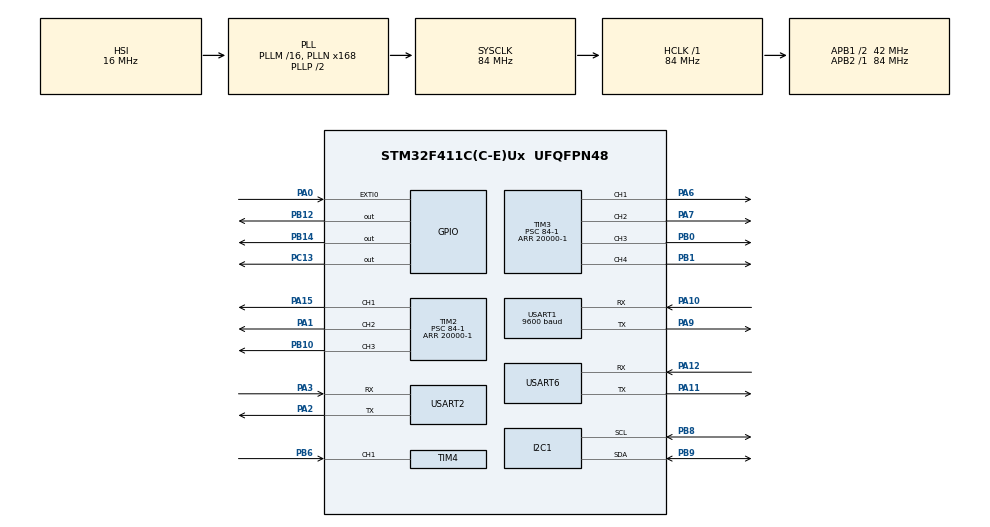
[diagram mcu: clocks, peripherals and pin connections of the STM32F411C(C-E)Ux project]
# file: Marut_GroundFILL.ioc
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FREERTOS.BinarySemaphores01=timer_sem,Dynamic,NULL,Available
FREERTOS.Tasks01=ArmDisarm,8,128,arm_disarm,Default,NULL,Static,ArmDisarmBuffer,ArmDisarmControlBlock;ModeHandler,8,128,mode_handler,Default,NULL,Static,ModeHandlerBuffer,ModeHandlerControlBlock;Debounce_Handle,8,128,debounce_task,Default,NULL,Static,Debounce_HandleBuffer,Debounce_HandleControlBlock;QuadTask,48,2024,quad_mode,Default,NULL,Static,QuadTaskBuffer,QuadTaskControlBlock;TelemetryTask,24,2024,telemetry_task,Default,NULL,Static,TelemetryTaskBuffer,TelemetryTaskControlBlock;FixedWingTask,48,2024,fw_mode,Default,NULL,Static,FixedWingTaskBuffer,FixedWingTaskControlBlock;VtolMode,48,2024,vtol_task,Default,NULL,Static,VtolModeBuffer,VtolModeControlBlock
FREERTOS.configENABLE_FPU=1
FREERTOS.configTOTAL_HEAP_SIZE=60000
FREERTOS.configUSE_NEWLIB_REENTRANT=1
I2C1.I2C_Mode=I2C_Fast
Mcu.Family=STM32F4
Mcu.Name=STM32F411C(C-E)Ux
Mcu.Package=UFQFPN48
NVIC.EXTI0_IRQn=true\:5\:0\:false\:false\:true\:true\:true\:true\:true
NVIC.PriorityGroup=NVIC_PRIORITYGROUP_4
NVIC.TIM1_TRG_COM_TIM11_IRQn=true\:15\:0\:false\:false\:true\:false\:false\:true\:true
NVIC.TIM1_UP_TIM10_IRQn=true\:5\:0\:false\:false\:true\:true\:true\:true\:true
NVIC.TIM4_IRQn=true\:5\:0\:false\:false\:true\:true\:true\:true\:true
NVIC.TimeBase=TIM1_TRG_COM_TIM11_IRQn
NVIC.TimeBaseIP=TIM11
PA0-WKUP.GPIO_ModeDefaultEXTI=GPIO_MODE_IT_FALLING
PA0-WKUP.GPIO_PuPd=GPIO_PULLUP
PA0-WKUP.Signal=GPXTI0
PA1.Signal=S_TIM2_CH2
PA10.Mode=Asynchronous
PA10.Signal=USART1_RX
PA11.Mode=Asynchronous
PA11.Signal=USART6_TX
PA12.Mode=Asynchronous
PA12.Signal=USART6_RX
PA13.Mode=Serial_Wire
PA13.Signal=SYS_JTMS-SWDIO
PA14.Mode=Serial_Wire
PA14.Signal=SYS_JTCK-SWCLK
PA15.Signal=S_TIM2_CH1_ETR
PA2.Mode=Asynchronous
PA2.Signal=USART2_TX
PA3.Mode=Asynchronous
PA3.Signal=USART2_RX
PA6.Signal=S_TIM3_CH1
PA7.Signal=S_TIM3_CH2
PA9.Mode=Asynchronous
PA9.Signal=USART1_TX
PB0.Signal=S_TIM3_CH3
PB1.Signal=S_TIM3_CH4
PB10.Signal=S_TIM2_CH3
PB12.Signal=GPIO_Output
PB14.Signal=GPIO_Output
PB6.Signal=S_TIM4_CH1
PB8.GPIO_Pu=GPIO_PULLUP
PB8.Mode=I2C
PB8.Signal=I2C1_SCL
PB9.GPIO_Pu=GPIO_PULLUP
PB9.Mode=I2C
PB9.Signal=I2C1_SDA
PC13-ANTI_TAMP.Signal=GPIO_Output
ProjectManager.HeapSize=0x200
ProjectManager.StackSize=0x400
ProjectManager.TargetToolchain=STM32CubeIDE
RCC.48MHZClocksFreq_Value=42000000
RCC.AHBFreq_Value=84000000
RCC.APB1CLKDivider=RCC_HCLK_DIV2
RCC.APB1Freq_Value=42000000
RCC.APB1TimFreq_Value=84000000
RCC.APB2Freq_Value=84000000
RCC.APB2TimFreq_Value=84000000
RCC.CortexFreq_Value=84000000
RCC.HCLKFreq_Value=84000000
RCC.HSE_VALUE=25000000
RCC.HSI_VALUE=16000000
RCC.LSE_VALUE=32768
RCC.PLLN=168
RCC.SYSCLKFreq_VALUE=84000000
RCC.SYSCLKSource=RCC_SYSCLKSOURCE_PLLCLK
RCC.VCOOutputFreq_Value=168000000
SH.S_TIM2_CH1_ETR.0=TIM2_CH1,PWM Generation1 CH1
SH.S_TIM2_CH2.0=TIM2_CH2,PWM Generation2 CH2
SH.S_TIM2_CH3.0=TIM2_CH3,PWM Generation3 CH3
SH.S_TIM3_CH1.0=TIM3_CH1,PWM Generation1 CH1
SH.S_TIM3_CH2.0=TIM3_CH2,PWM Generation2 CH2
SH.S_TIM3_CH3.0=TIM3_CH3,PWM Generation3 CH3
SH.S_TIM3_CH4.0=TIM3_CH4,PWM Generation4 CH4
SH.S_TIM4_CH1.0=TIM4_CH1,Input_Capture1_from_TI1
TIM10.Period=2499
TIM10.Prescaler=83
TIM2.Channel-PWM\ Generation1\ CH1=TIM_CHANNEL_1
TIM2.Channel-PWM\ Generation2\ CH2=TIM_CHANNEL_2
TIM2.Channel-PWM\ Generation3\ CH3=TIM_CHANNEL_3
TIM2.Period=20000-1
TIM2.Prescaler=84-1
TIM3.Channel-PWM\ Generation1\ CH1=TIM_CHANNEL_1
TIM3.Channel-PWM\ Generation2\ CH2=TIM_CHANNEL_2
TIM3.Channel-PWM\ Generation3\ CH3=TIM_CHANNEL_3
TIM3.Channel-PWM\ Generation4\ CH4=TIM_CHANNEL_4
TIM3.Period=20000-1
TIM3.Prescaler=84-1
TIM4.Channel-Input_Capture1_from_TI1=TIM_CHANNEL_1
TIM4.Prescaler=84-1
TIM9.Prescaler=84-1
USART1.BaudRate=9600
USART1.VirtualMode=VM_ASYNC
USART2.VirtualMode=VM_ASYNC
USART6.VirtualMode=VM_ASYNC
VP_FREERTOS_VS_CMSIS_V2.Mode=CMSIS_V2
VP_SYS_VS_tim11.Mode=TIM11
VP_TIM10_VS_ClockSourceINT.Mode=Enable_Timer
VP_TIM2_VS_ClockSourceINT.Mode=Internal
VP_TIM3_VS_ClockSourceINT.Mode=Internal
VP_TIM4_VS_ClockSourceINT.Mode=Internal
VP_TIM9_VS_ClockSourceINT.Mode=Internal
board=custom

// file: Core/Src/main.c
/* USER CODE BEGIN Header */
/**
 ******************************************************************************
 * @file           : main.c
 * @brief          : Main program body
 ******************************************************************************
 * @attention
 *
 * Copyright (c) 2026 STMicroelectronics.
 * All rights reserved.
 *
 * This software is licensed under terms that can be found in the LICENSE file
 * in the root directory of this software component.
 * If no LICENSE file comes with this software, it is provided AS-IS.
 *
 ******************************************************************************
 */
/* USER CODE END Header */
#include "main.h"
#include "cmsis_os.h"

/* USER CODE BEGIN Includes */

#include "mpu6050.h"
#include "bmp280.h"
#include <stdio.h>
#include <string.h>
#include <math.h>
#include "mav_messages.h"
#include "mavlink/common/mavlink.h"
#include  <stdint.h>
#include "Support_function.h"

/* USER CODE END Includes */

typedef StaticTask_t osStaticThreadDef_t;
/* USER CODE BEGIN PTD */

#define EL_L_DIR   (+1)
#define EL_R_DIR   (-1)
#define AILERON_LEFT_CH   1
#define AILERON_RIGHT_CH  2

/* USER CODE END PTD */

/* USER CODE BEGIN PD */

#define PUTCHAR_PROTOTYPE int __io_putchar(int ch)

/* USER CODE END PD */

I2C_HandleTypeDef hi2c1;

TIM_HandleTypeDef htim2;
TIM_HandleTypeDef htim3;
TIM_HandleTypeDef htim4;
TIM_HandleTypeDef htim9;
TIM_HandleTypeDef htim10;

UART_HandleTypeDef huart1;
UART_HandleTypeDef huart2;
UART_HandleTypeDef huart6;

/* Definitions for ArmDisarm */
osThreadId_t ArmDisarmHandle;
uint32_t ArmDisarmBuffer[ 128 ];
osStaticThreadDef_t ArmDisarmControlBlock;
const osThreadAttr_t ArmDisarm_attributes = {
  .name = "ArmDisarm",
  .cb_mem = &ArmDisarmControlBlock,
  .cb_size = sizeof(ArmDisarmControlBlock),
  .stack_mem = &ArmDisarmBuffer[0],
  .stack_size = sizeof(ArmDisarmBuffer),
  .priority = (osPriority_t) osPriorityLow,
};
/* Definitions for ModeHandler */
osThreadId_t ModeHandlerHandle;
uint32_t ModeHandlerBuffer[ 128 ];
osStaticThreadDef_t ModeHandlerControlBlock;
const osThreadAttr_t ModeHandler_attributes = {
  .name = "ModeHandler",
  .cb_mem = &ModeHandlerControlBlock,
  .cb_size = sizeof(ModeHandlerControlBlock),
  .stack_mem = &ModeHandlerBuffer[0],
  .stack_size = sizeof(ModeHandlerBuffer),
  .priority = (osPriority_t) osPriorityLow,
};
/* Definitions for Debounce_Handle */
osThreadId_t Debounce_HandleHandle;
uint32_t Debounce_HandleBuffer[ 128 ];
osStaticThreadDef_t Debounce_HandleControlBlock;
const osThreadAttr_t Debounce_Handle_attributes = {
  .name = "Debounce_Handle",
  .cb_mem = &Debounce_HandleControlBlock,
  .cb_size = sizeof(Debounce_HandleControlBlock),
  .stack_mem = &Debounce_HandleBuffer[0],
  .stack_size = sizeof(Debounce_HandleBuffer),
  .priority = (osPriority_t) osPriorityLow,
};
/* Definitions for QuadTask */
osThreadId_t QuadTaskHandle;
uint32_t QuadTaskBuffer[ 2024 ];
osStaticThreadDef_t QuadTaskControlBlock;
const osThreadAttr_t QuadTask_attributes = {
  .name = "QuadTask",
  .cb_mem = &QuadTaskControlBlock,
  .cb_size = sizeof(QuadTaskControlBlock),
  .stack_mem = &QuadTaskBuffer[0],
  .stack_size = sizeof(QuadTaskBuffer),
  .priority = (osPriority_t) osPriorityRealtime,
};
/* Definitions for TelemetryTask */
osThreadId_t TelemetryTaskHandle;
uint32_t TelemetryTaskBuffer[ 2024 ];
osStaticThreadDef_t TelemetryTaskControlBlock;
const osThreadAttr_t TelemetryTask_attributes = {
  .name = "TelemetryTask",
  .cb_mem = &TelemetryTaskControlBlock,
  .cb_size = sizeof(TelemetryTaskControlBlock),
  .stack_mem = &TelemetryTaskBuffer[0],
  .stack_size = sizeof(TelemetryTaskBuffer),
  .priority = (osPriority_t) osPriorityNormal,
};
/* Definitions for FixedWingTask */
osThreadId_t FixedWingTaskHandle;
uint32_t FixedWingTaskBuffer[ 2024 ];
osStaticThreadDef_t FixedWingTaskControlBlock;
const osThreadAttr_t FixedWingTask_attributes = {
  .name = "FixedWingTask",
  .cb_mem = &FixedWingTaskControlBlock,
  .cb_size = sizeof(FixedWingTaskControlBlock),
  .stack_mem = &FixedWingTaskBuffer[0],
  .stack_size = sizeof(FixedWingTaskBuffer),
  .priority = (osPriority_t) osPriorityRealtime,
};
/* Definitions for VtolMode */
osThreadId_t VtolModeHandle;
uint32_t VtolModeBuffer[ 2024 ];
osStaticThreadDef_t VtolModeControlBlock;
const osThreadAttr_t VtolMode_attributes = {
  .name = "VtolMode",
  .cb_mem = &VtolModeControlBlock,
  .cb_size = sizeof(VtolModeControlBlock),
  .stack_mem = &VtolModeBuffer[0],
  .stack_size = sizeof(VtolModeBuffer),
  .priority = (osPriority_t) osPriorityRealtime,
};
/* Definitions for timer_sem */
osSemaphoreId_t timer_semHandle;
const osSemaphoreAttr_t timer_sem_attributes = {
  .name = "timer_sem"
};
/* USER CODE BEGIN PV */

volatile uint16_t ppm_live_channels[6];
volatile uint16_t ppm_ready_channels[6];

uint16_t display_channels[6]; // NOTE : Keep Channels uniform
volatile uint8_t pulse = 1;

volatile uint8_t ppm_new_data_flag = 0;
volatile uint32_t last_capture = 0;

char msg[100];

volatile float pulse_width_us_1;
volatile float pulse_width_us_2;
volatile float pulse_width_us_3;
volatile float pulse_width_us_4;
volatile float pulse_width_us_5;
volatile float pulse_width_us_6;

volatile float batt_value = 0;
volatile float adc_value = 0;
volatile float internal_temp = 0;
volatile float v_out = 0;

float dt = 0;

static int disarm_flag;
static int arm_flag;
 int button_counter;
static int mode_flag = 0;
static int temp_mode_flag = 0;

int elevon_left = 0;
int elevon_right = 0;

float calibration_const_global_roll_accel = 0;
float calibration_const_global_pitch_accel = 0;

float calibration_const_global_roll_gyro = 0;
float calibration_const_global_pitch_gyro = 0;

float calibration_const_global_gx = 0;
float calibration_const_global_gy = 0;
float calibration_const_global_gz = 0;

float calibration_const_global_ax = 0;
float calibration_const_global_ay = 0;
float calibration_const_global_az = 0;

float kalman_roll = 0.0f;
float kalman_pitch = 0.0f;
float roll_snap = 0.0f;
float pitch_snap = 0.0f;
int32_t altitude_snap = 0.0f;

float desired_rate_roll;
float desired_rate_pitch;
float desired_rate_yaw;

float error_rate_roll;
float error_rate_pitch;
float error_rate_yaw;

float input_roll;
float input_throttle;
float input_pitch;
float input_yaw;

float prev_error_rate_roll;
float prev_error_rate_pitch;
float prev_error_rate_yaw;

float prev_iterm_rate_roll;
float prev_iterm_rate_pitch;
float prev_iterm_rate_yaw;

float PIDReturn[] = { 0, 0, 0 };

float desired_angle_roll;
float desired_angle_pitch;

float error_angle_roll = 0;
float error_angle_pitch = 0;

float prev_error_angle_roll = 0;
float prev_error_angle_pitch = 0;

float prev_iterm_angle_roll=0;
float prev_iterm_angle_pitch=0;

int quad_mode_flag = 0;

float acc_z_inertial = 0.0f;

float velocity_vertical = 0.0f;

uint32_t last_time;

uint32_t M1 = 0;
uint32_t M2 = 0;
uint32_t M3 = 0;
uint32_t M4 = 0;

float gyro_x = 0;
float gyro_y = 0;
float gyro_z = 0;

float accel_roll = 0;
float accel_pitch = 0;

float relative_alt_meters = 0.0f;
float qmc_mag_ext = 0.0f;

float gx;
float gy;
float gz;

// Note: PID Globals

// RATE LOOP
float p_rate_roll  = 0.51f;  //0.51 p pretty stable huh
float p_rate_pitch = 0.51f;
float p_rate_yaw   = 2.50f;

float i_rate_roll  = 0.10f; // now to tune this
float i_rate_pitch = 0.10f;
float i_rate_yaw   = 0.80f;

float d_rate_roll  = 0.008f;
float d_rate_pitch = 0.008f;
float d_rate_yaw   = 0.0f;

// ANGLE LOOP
float p_angle_roll  = 3.0f;
float p_angle_pitch = 3.0f;

float i_angle_roll  = 0.0f;
float i_angle_pitch = 0.0f;

float d_angle_roll  = 0.0f;
float d_angle_pitch = 0.0f;

float xx = 0;
float yy = 0;

uint32_t current_tick_quad = 0;
uint32_t current_tick_fw = 0;
uint32_t current_tick_vtol = 0;

//Baro and Mag external read variables
float alt_ext = 0;
float mag_ext = 0;

// Status variables
int mode_task = 0;
int quad_task = 0;
int bounce_task = 0;
int telemetery_task = 0;
int arm_disarm_task = 0;
int itr_running = 100;
uint32_t t1;
uint32_t t2;
uint32_t dt_n;
int tim_flag = 0;

int in_stabilize = 0;
int in_rate = 0;

//SW Timer variables
static uint32_t last = 0;
uint32_t now;

int m_t = 0;
int measure = 0;

float g_global_x = 0;
float g_global_y = 0;
float g_global_z = 0;

float a_global_x = 0;
float a_global_y = 0;
float a_global_z = 0;

//RC Calibration (preliminary) variables

extern int rc_max_us;
extern int rc_min_us;

//RC Channel debug variables

volatile uint16_t ch1_dbg;
volatile uint16_t ch2_dbg;
volatile uint16_t ch3_dbg;
volatile uint16_t ch4_dbg;
volatile uint16_t ch5_dbg;
volatile uint16_t ch6_dbg;
volatile uint16_t ch7_dbg;
volatile uint16_t ch8_dbg;
volatile uint16_t ch9_dbg;
volatile uint16_t ch10_dbg;

/* USER CODE END PV */

void SystemClock_Config(void);
static void MX_GPIO_Init(void);
static void MX_I2C1_Init(void);
static void MX_TIM2_Init(void);
static void MX_TIM3_Init(void);
static void MX_TIM4_Init(void);
static void MX_TIM9_Init(void);
static void MX_TIM10_Init(void);
static void MX_USART1_UART_Init(void);
static void MX_USART2_UART_Init(void);
static void MX_USART6_UART_Init(void);
void arm_disarm(void *argument);
void mode_handler(void *argument);
void debounce_task(void *argument);
void quad_mode(void *argument);
void telemetry_task(void *argument);
void fw_mode(void *argument);
void vtol_task(void *argument);

/* USER CODE BEGIN 0 */
PUTCHAR_PROTOTYPE {
	/* Place your implementation of fputc here */
	/* e.g. write a character to the USART1 and Loop until the end of transmission */
	HAL_UART_Transmit(&huart2, (uint8_t*) &ch, 1, 0xFFFF);

	return ch;
}

void HAL_GPIO_EXTI_Callback(uint16_t GPIO_Pin) {
	if (GPIO_Pin == GPIO_PIN_0) {

		temp_mode_flag++;
		if (temp_mode_flag == 3) {
			temp_mode_flag = 0;
		}
	}
}

void HAL_TIM_IC_CaptureCallback(TIM_HandleTypeDef *htim) {

	if (htim->Instance == TIM4 && htim->Channel == HAL_TIM_ACTIVE_CHANNEL_1) {

		itr_running = 1;

		uint32_t current_capture = HAL_TIM_ReadCapturedValue(htim,
		TIM_CHANNEL_1);

		uint16_t pulse_width;

		if (current_capture > last_capture) {
			pulse_width = current_capture - last_capture;
		} else {
			pulse_width = (65535 - last_capture) + current_capture;
		}

		if (pulse_width > 3000) {

			memcpy((void*) ppm_ready_channels, (void*) ppm_live_channels,
					sizeof(ppm_live_channels));
			ppm_new_data_flag = 1;

			pulse = 1;
		}

		else {
			switch (pulse) {
			case 1:
				ppm_live_channels[0] = pulse_width;
				pulse++;
				break;
			case 2:
				ppm_live_channels[1] = pulse_width;
				pulse++;
				break;
			case 3:
				ppm_live_channels[2] = pulse_width;
				pulse++;
				break;
			case 4:
				ppm_live_channels[3] = pulse_width;
				pulse++;
				break;
			case 5:
				ppm_live_channels[4] = pulse_width;
				pulse++;
				break;
	      case 6:
				ppm_live_channels[5] = pulse_width;
				pulse++;
				break;
		/*
			case 7:
				ppm_live_channels[6] = pulse_width;
				pulse++;
				break;
			case 8:
				ppm_live_channels[7] = pulse_width;
				pulse++;
				break;
			case 9:
				ppm_live_channels[8] = pulse_width;
				pulse++;
				break;
			case 10:
				ppm_live_channels[9] = pulse_width;
				pulse++;
				break;*/
			default:
				pulse++;
				break;
			}
		}
		last_capture = current_capture;

		itr_running = 0;
	}

}

void pid_equation(float error, float p, float i, float d, float prev_error,
		float prev_iterm) {
	float pterm = p * error;
	float iterm = prev_iterm + i * (error + prev_error) * 0.0025 / 2;
	static int saturation_limit = 400;

	if (iterm > saturation_limit)
	{
		iterm = saturation_limit;
	}
	else if (iterm < -saturation_limit)
	{
		iterm = -saturation_limit;
	}

	float Dterm = d * (error - prev_error) / 0.0025f;
	float PID_output = pterm + iterm + Dterm;

	if (PID_output > saturation_limit)
	{
		PID_output = saturation_limit;
	}
	else if (PID_output < -saturation_limit)
	{
		PID_output = -saturation_limit;
	}

	PIDReturn[0] = PID_output;
	PIDReturn[1] = error;
	PIDReturn[2] = iterm;
}

void reset_pid(void) {
	prev_error_rate_roll = 0;
	prev_error_rate_pitch = 0;
	prev_error_rate_yaw = 0;

	prev_iterm_rate_roll = 0;
	prev_iterm_rate_pitch = 0;
	prev_iterm_rate_yaw = 0;

	prev_error_angle_roll = 0;
	prev_error_angle_pitch = 0;
	prev_iterm_angle_roll = 0;
	prev_iterm_angle_pitch = 0;
}

/* Pushkar, 22-05-2026
 *  we can add modes later as per modes of FCU i.e VTOL, QUAD or FXDW*/

/**
  * @brief  Function to lock the Actuators Manually
  * @note  	Use In the respective modes i.e VTOL,QUAD,FXDW , Check before every Control loop !
  * 		After triggering, a system reset is required.
  * @param  None
  * @retval None

 * NOTE : Function uses Hard infinite loop , do not use while(1)
 */

void actuator_emergency_stop_latch(void)
{
	if(display_channels[9]>1500 ){

	    if (mode_flag == 0) 	// Quad
	    {
	    	M1 = 1000;
			M2 = 1000;
			M3 = 1000;
			M4 = 1000;

			set_raw_ccr(M1, 5);
			set_raw_ccr(M4, 7);
			set_raw_ccr(M3, 4);
			set_raw_ccr(M2, 6);

			arm_flag = 0;
			disarm_flag = 1;

			HAL_TIM_PWM_Stop(&htim2, TIM_CHANNEL_1);
			HAL_TIM_PWM_Stop(&htim2, TIM_CHANNEL_2);
			HAL_TIM_PWM_Stop(&htim2, TIM_CHANNEL_3);

			HAL_TIM_PWM_Stop(&htim3, TIM_CHANNEL_1);
			HAL_TIM_PWM_Stop(&htim3, TIM_CHANNEL_2);
			HAL_TIM_PWM_Stop(&htim3, TIM_CHANNEL_3);
			HAL_TIM_PWM_Stop(&htim3, TIM_CHANNEL_4);

			for(;;){}

	    }
	    else if (mode_flag == 1)     // Fixed wing
	    {
	    	arm_flag = 0;
	    	disarm_flag = 1;

	        set_raw_ccr(1000, 6);   // Motor off
	        set_raw_ccr(1500, 4);   // Elevon neutral
	        set_raw_ccr(1500, 5);   // Elevon neutral

	        for(;;){}
	    }
	    else if (mode_flag == 2)     // VTOL
	    {
	    	arm_flag = 0;
	    	disarm_flag = 1;

	        for(;;){}
	    }
	}
	else{
		__NOP();
	}
}

/* USER CODE END 0 */

int main(void)
{

  /* MCU Configuration--------------------------------------------------------*/

  /* Reset of all peripherals, Initializes the Flash interface and the Systick. */
  HAL_Init();

  /* Configure the system clock */
  SystemClock_Config();

  /* Initialize all configured peripherals */
  MX_GPIO_Init();
  MX_I2C1_Init();
  MX_TIM2_Init();
  MX_TIM3_Init();
  MX_TIM4_Init();
  MX_TIM9_Init();
  MX_TIM10_Init();
  MX_USART1_UART_Init();
  MX_USART2_UART_Init();
  MX_USART6_UART_Init();
  /* USER CODE BEGIN 2 */
	__HAL_RCC_SYSCFG_CLK_ENABLE();

	//ESC_Calibrate();

    // initilization of sensors and calibration
	HAL_GPIO_WritePin(GPIOC, GPIO_PIN_13, GPIO_PIN_SET);
	mpu_init();
	HAL_Delay(100);
	bmp280_i2c_setup();

	HAL_Delay(1000);

	/*	-replaced mpu_roll_pitch_calibration_accel() , mpu_gyro_calibration() to struct-based outputs
		-now it returns a struct with all calibration values , instead of calling multiple functions */
	accel_roll_pitch_calib_constant roll_pitch_calib_offset;
	mpu_roll_pitch_calibration_accel(&roll_pitch_calib_offset);

	calibration_const_global_roll_accel = roll_pitch_calib_offset.rc;
	calibration_const_global_pitch_accel = roll_pitch_calib_offset.pc;

	gyro_calib gyro_calib_offset;
	mpu_gyro_calibration(&gyro_calib_offset);

	calibration_const_global_gx = gyro_calib_offset.gx_offset;
	calibration_const_global_gy = gyro_calib_offset.gy_offset;
	calibration_const_global_gz = gyro_calib_offset.gz_offset;

	HAL_GPIO_WritePin(GPIOC, GPIO_PIN_13, GPIO_PIN_RESET); // onboard led on

	HAL_TIM_IC_Start_IT(&htim4, TIM_CHANNEL_1);

  /* USER CODE END 2 */

  /* Init scheduler */
  osKernelInitialize();

  /* Create the semaphores(s) */
  /* creation of timer_sem */
  timer_semHandle = osSemaphoreNew(1, 1, &timer_sem_attributes);

  /* USER CODE BEGIN RTOS_TIMERS */
	/* start timers, add new ones, ... */
  HAL_TIM_Base_Start_IT(&htim10);
  /* USER CODE END RTOS_TIMERS */

  /* Create the thread(s) */
  /* creation of ArmDisarm */
  ArmDisarmHandle = osThreadNew(arm_disarm, NULL, &ArmDisarm_attributes);

  /* creation of ModeHandler */
  ModeHandlerHandle = osThreadNew(mode_handler, NULL, &ModeHandler_attributes);

  /* creation of Debounce_Handle */
  Debounce_HandleHandle = osThreadNew(debounce_task, NULL, &Debounce_Handle_attributes);

  /* creation of QuadTask */
 // QuadTaskHandle = osThreadNew(quad_mode, NULL, &QuadTask_attributes);

  /* creation of TelemetryTask */
  TelemetryTaskHandle = osThreadNew(telemetry_task, NULL, &TelemetryTask_attributes);

  /* creation of FixedWingTask */
 // FixedWingTaskHandle = osThreadNew(fw_mode, NULL, &FixedWingTask_attributes);

  /* creation of VtolMode */
  //VtolModeHandle = osThreadNew(vtol_task, NULL, &VtolMode_attributes);

  /* Start scheduler */
  osKernelStart();

  /* We should never get here as control is now taken by the scheduler */

  /* Infinite loop */
	while (1) {

	}
}

void SystemClock_Config(void)
{
  RCC_OscInitTypeDef RCC_OscInitStruct = {0};
  RCC_ClkInitTypeDef RCC_ClkInitStruct = {0};

  /** Configure the main internal regulator output voltage
  */
  __HAL_RCC_PWR_CLK_ENABLE();
  __HAL_PWR_VOLTAGESCALING_CONFIG(PWR_REGULATOR_VOLTAGE_SCALE1);

  /** Initializes the RCC Oscillators according to the specified parameters
  * in the RCC_OscInitTypeDef structure.
  */
  RCC_OscInitStruct.OscillatorType = RCC_OSCILLATORTYPE_HSI;
  RCC_OscInitStruct.HSIState = RCC_HSI_ON;
  RCC_OscInitStruct.HSICalibrationValue = RCC_HSICALIBRATION_DEFAULT;
  RCC_OscInitStruct.PLL.PLLState = RCC_PLL_ON;
  RCC_OscInitStruct.PLL.PLLSource = RCC_PLLSOURCE_HSI;
  RCC_OscInitStruct.PLL.PLLM = 16;
  RCC_OscInitStruct.PLL.PLLN = 168;
  RCC_OscInitStruct.PLL.PLLP = RCC_PLLP_DIV2;
  RCC_OscInitStruct.PLL.PLLQ = 4;
  if (HAL_RCC_OscConfig(&RCC_OscInitStruct) != HAL_OK)
  {
    Error_Handler();
  }

  /** Initializes the CPU, AHB and APB buses clocks
  */
  RCC_ClkInitStruct.ClockType = RCC_CLOCKTYPE_HCLK|RCC_CLOCKTYPE_SYSCLK
                              |RCC_CLOCKTYPE_PCLK1|RCC_CLOCKTYPE_PCLK2;
  RCC_ClkInitStruct.SYSCLKSource = RCC_SYSCLKSOURCE_PLLCLK;
  RCC_ClkInitStruct.AHBCLKDivider = RCC_SYSCLK_DIV1;
  RCC_ClkInitStruct.APB1CLKDivider = RCC_HCLK_DIV2;
  RCC_ClkInitStruct.APB2CLKDivider = RCC_HCLK_DIV1;

  if (HAL_RCC_ClockConfig(&RCC_ClkInitStruct, FLASH_LATENCY_2) != HAL_OK)
  {
    Error_Handler();
  }
}

static void MX_I2C1_Init(void)
{

  hi2c1.Instance = I2C1;
  hi2c1.Init.ClockSpeed = 400000;
  hi2c1.Init.DutyCycle = I2C_DUTYCYCLE_2;
  hi2c1.Init.OwnAddress1 = 0;
  hi2c1.Init.AddressingMode = I2C_ADDRESSINGMODE_7BIT;
  hi2c1.Init.DualAddressMode = I2C_DUALADDRESS_DISABLE;
  hi2c1.Init.OwnAddress2 = 0;
  hi2c1.Init.GeneralCallMode = I2C_GENERALCALL_DISABLE;
  hi2c1.Init.NoStretchMode = I2C_NOSTRETCH_DISABLE;
  if (HAL_I2C_Init(&hi2c1) != HAL_OK)
  {
    Error_Handler();
  }

}

static void MX_TIM2_Init(void)
{

  TIM_ClockConfigTypeDef sClockSourceConfig = {0};
  TIM_MasterConfigTypeDef sMasterConfig = {0};
  TIM_OC_InitTypeDef sConfigOC = {0};

  htim2.Instance = TIM2;
  htim2.Init.Prescaler = 84-1;
  htim2.Init.CounterMode = TIM_COUNTERMODE_UP;
  htim2.Init.Period = 20000-1;
  htim2.Init.ClockDivision = TIM_CLOCKDIVISION_DIV1;
  htim2.Init.AutoReloadPreload = TIM_AUTORELOAD_PRELOAD_DISABLE;
  if (HAL_TIM_Base_Init(&htim2) != HAL_OK)
  {
    Error_Handler();
  }
  sClockSourceConfig.ClockSource = TIM_CLOCKSOURCE_INTERNAL;
  if (HAL_TIM_ConfigClockSource(&htim2, &sClockSourceConfig) != HAL_OK)
  {
    Error_Handler();
  }
  if (HAL_TIM_PWM_Init(&htim2) != HAL_OK)
  {
    Error_Handler();
  }
  sMasterConfig.MasterOutputTrigger = TIM_TRGO_RESET;
  sMasterConfig.MasterSlaveMode = TIM_MASTERSLAVEMODE_DISABLE;
  if (HAL_TIMEx_MasterConfigSynchronization(&htim2, &sMasterConfig) != HAL_OK)
  {
    Error_Handler();
  }
  sConfigOC.OCMode = TIM_OCMODE_PWM1;
  sConfigOC.Pulse = 0;
  sConfigOC.OCPolarity = TIM_OCPOLARITY_HIGH;
  sConfigOC.OCFastMode = TIM_OCFAST_DISABLE;
  if (HAL_TIM_PWM_ConfigChannel(&htim2, &sConfigOC, TIM_CHANNEL_1) != HAL_OK)
  {
    Error_Handler();
  }
  if (HAL_TIM_PWM_ConfigChannel(&htim2, &sConfigOC, TIM_CHANNEL_2) != HAL_OK)
  {
    Error_Handler();
  }
  if (HAL_TIM_PWM_ConfigChannel(&htim2, &sConfigOC, TIM_CHANNEL_3) != HAL_OK)
  {
    Error_Handler();
  }
  HAL_TIM_MspPostInit(&htim2);

}

static void MX_TIM3_Init(void)
{

  TIM_ClockConfigTypeDef sClockSourceConfig = {0};
  TIM_MasterConfigTypeDef sMasterConfig = {0};
  TIM_OC_InitTypeDef sConfigOC = {0};

  htim3.Instance = TIM3;
  htim3.Init.Prescaler = 84-1;
  htim3.Init.CounterMode = TIM_COUNTERMODE_UP;
  htim3.Init.Period = 20000-1;
  htim3.Init.ClockDivision = TIM_CLOCKDIVISION_DIV1;
  htim3.Init.AutoReloadPreload = TIM_AUTORELOAD_PRELOAD_DISABLE;
  if (HAL_TIM_Base_Init(&htim3) != HAL_OK)
  {
    Error_Handler();
  }
  sClockSourceConfig.ClockSource = TIM_CLOCKSOURCE_INTERNAL;
  if (HAL_TIM_ConfigClockSource(&htim3, &sClockSourceConfig) != HAL_OK)
  {
    Error_Handler();
  }
  if (HAL_TIM_PWM_Init(&htim3) != HAL_OK)
  {
    Error_Handler();
  }
  sMasterConfig.MasterOutputTrigger = TIM_TRGO_RESET;
  sMasterConfig.MasterSlaveMode = TIM_MASTERSLAVEMODE_DISABLE;
  if (HAL_TIMEx_MasterConfigSynchronization(&htim3, &sMasterConfig) != HAL_OK)
  {
    Error_Handler();
  }
  sConfigOC.OCMode = TIM_OCMODE_PWM1;
  sConfigOC.Pulse = 0;
  sConfigOC.OCPolarity = TIM_OCPOLARITY_HIGH;
  sConfigOC.OCFastMode = TIM_OCFAST_DISABLE;
  if (HAL_TIM_PWM_ConfigChannel(&htim3, &sConfigOC, TIM_CHANNEL_1) != HAL_OK)
  {
    Error_Handler();
  }
  if (HAL_TIM_PWM_ConfigChannel(&htim3, &sConfigOC, TIM_CHANNEL_2) != HAL_OK)
  {
    Error_Handler();
  }
  if (HAL_TIM_PWM_ConfigChannel(&htim3, &sConfigOC, TIM_CHANNEL_3) != HAL_OK)
  {
    Error_Handler();
  }
  if (HAL_TIM_PWM_ConfigChannel(&htim3, &sConfigOC, TIM_CHANNEL_4) != HAL_OK)
  {
    Error_Handler();
  }
  HAL_TIM_MspPostInit(&htim3);

}

static void MX_TIM4_Init(void)
{

  TIM_ClockConfigTypeDef sClockSourceConfig = {0};
  TIM_MasterConfigTypeDef sMasterConfig = {0};
  TIM_IC_InitTypeDef sConfigIC = {0};

  htim4.Instance = TIM4;
  htim4.Init.Prescaler = 84-1;
  htim4.Init.CounterMode = TIM_COUNTERMODE_UP;
  htim4.Init.Period = 65535;
  htim4.Init.ClockDivision = TIM_CLOCKDIVISION_DIV1;
  htim4.Init.AutoReloadPreload = TIM_AUTORELOAD_PRELOAD_DISABLE;
  if (HAL_TIM_Base_Init(&htim4) != HAL_OK)
  {
    Error_Handler();
  }
  sClockSourceConfig.ClockSource = TIM_CLOCKSOURCE_INTERNAL;
  if (HAL_TIM_ConfigClockSource(&htim4, &sClockSourceConfig) != HAL_OK)
  {
    Error_Handler();
  }
  if (HAL_TIM_IC_Init(&htim4) != HAL_OK)
  {
    Error_Handler();
  }
  sMasterConfig.MasterOutputTrigger = TIM_TRGO_RESET;
  sMasterConfig.MasterSlaveMode = TIM_MASTERSLAVEMODE_DISABLE;
  if (HAL_TIMEx_MasterConfigSynchronization(&htim4, &sMasterConfig) != HAL_OK)
  {
    Error_Handler();
  }
  sConfigIC.ICPolarity = TIM_INPUTCHANNELPOLARITY_RISING;
  sConfigIC.ICSelection = TIM_ICSELECTION_DIRECTTI;
  sConfigIC.ICPrescaler = TIM_ICPSC_DIV1;
  sConfigIC.ICFilter = 0;
  if (HAL_TIM_IC_ConfigChannel(&htim4, &sConfigIC, TIM_CHANNEL_1) != HAL_OK)
  {
    Error_Handler();
  }

}

static void MX_TIM9_Init(void)
{

  TIM_ClockConfigTypeDef sClockSourceConfig = {0};

  htim9.Instance = TIM9;
  htim9.Init.Prescaler = 84-1;
  htim9.Init.CounterMode = TIM_COUNTERMODE_UP;
  htim9.Init.Period = 65535;
  htim9.Init.ClockDivision = TIM_CLOCKDIVISION_DIV1;
  htim9.Init.AutoReloadPreload = TIM_AUTORELOAD_PRELOAD_DISABLE;
  if (HAL_TIM_Base_Init(&htim9) != HAL_OK)
  {
    Error_Handler();
  }
  sClockSourceConfig.ClockSource = TIM_CLOCKSOURCE_INTERNAL;
  if (HAL_TIM_ConfigClockSource(&htim9, &sClockSourceConfig) != HAL_OK)
  {
    Error_Handler();
  }

}

static void MX_TIM10_Init(void)
{

  htim10.Instance = TIM10;
  htim10.Init.Prescaler = 83;
  htim10.Init.CounterMode = TIM_COUNTERMODE_UP;
  htim10.Init.Period = 2499;
  htim10.Init.ClockDivision = TIM_CLOCKDIVISION_DIV1;
  htim10.Init.AutoReloadPreload = TIM_AUTORELOAD_PRELOAD_DISABLE;
  if (HAL_TIM_Base_Init(&htim10) != HAL_OK)
  {
    Error_Handler();
  }

}

static void MX_USART1_UART_Init(void)
{

  huart1.Instance = USART1;
  huart1.Init.BaudRate = 9600;
  huart1.Init.WordLength = UART_WORDLENGTH_8B;
  huart1.Init.StopBits = UART_STOPBITS_1;
  huart1.Init.Parity = UART_PARITY_NONE;
  huart1.Init.Mode = UART_MODE_TX_RX;
  huart1.Init.HwFlowCtl = UART_HWCONTROL_NONE;
  huart1.Init.OverSampling = UART_OVERSAMPLING_16;
  if (HAL_UART_Init(&huart1) != HAL_OK)
  {
    Error_Handler();
  }

}

static void MX_USART2_UART_Init(void)
{

  huart2.Instance = USART2;
  huart2.Init.BaudRate = 9600;
  huart2.Init.WordLength = UART_WORDLENGTH_8B;
  huart2.Init.StopBits = UART_STOPBITS_1;
  huart2.Init.Parity = UART_PARITY_NONE;
  huart2.Init.Mode = UART_MODE_TX_RX;
  huart2.Init.HwFlowCtl = UART_HWCONTROL_NONE;
  huart2.Init.OverSampling = UART_OVERSAMPLING_16;
  if (HAL_UART_Init(&huart2) != HAL_OK)
  {
    Error_Handler();
  }

}

static void MX_USART6_UART_Init(void)
{

  huart6.Instance = USART6;
  huart6.Init.BaudRate = 9600;
  huart6.Init.WordLength = UART_WORDLENGTH_8B;
  huart6.Init.StopBits = UART_STOPBITS_1;
  huart6.Init.Parity = UART_PARITY_NONE;
  huart6.Init.Mode = UART_MODE_TX_RX;
  huart6.Init.HwFlowCtl = UART_HWCONTROL_NONE;
  huart6.Init.OverSampling = UART_OVERSAMPLING_16;
  if (HAL_UART_Init(&huart6) != HAL_OK)
  {
    Error_Handler();
  }

}

static void MX_GPIO_Init(void)
{
  GPIO_InitTypeDef GPIO_InitStruct = {0};

  /* GPIO Ports Clock Enable */
  __HAL_RCC_GPIOC_CLK_ENABLE();
  __HAL_RCC_GPIOA_CLK_ENABLE();
  __HAL_RCC_GPIOB_CLK_ENABLE();

  /*Configure GPIO pin Output Level */
  HAL_GPIO_WritePin(GPIOC, GPIO_PIN_13, GPIO_PIN_RESET);

  /*Configure GPIO pin Output Level */
  HAL_GPIO_WritePin(GPIOB, GPIO_PIN_12|GPIO_PIN_14, GPIO_PIN_RESET);

  /*Configure GPIO pin : PC13 */
  GPIO_InitStruct.Pin = GPIO_PIN_13;
  GPIO_InitStruct.Mode = GPIO_MODE_OUTPUT_PP;
  GPIO_InitStruct.Pull = GPIO_NOPULL;
  GPIO_InitStruct.Speed = GPIO_SPEED_FREQ_LOW;
  HAL_GPIO_Init(GPIOC, &GPIO_InitStruct);

  /*Configure GPIO pin : PA0 */
  GPIO_InitStruct.Pin = GPIO_PIN_0;
  GPIO_InitStruct.Mode = GPIO_MODE_IT_FALLING;
  GPIO_InitStruct.Pull = GPIO_PULLUP;
  HAL_GPIO_Init(GPIOA, &GPIO_InitStruct);

  /*Configure GPIO pins : PB12 PB14 */
  GPIO_InitStruct.Pin = GPIO_PIN_12|GPIO_PIN_14;
  GPIO_InitStruct.Mode = GPIO_MODE_OUTPUT_PP;
  GPIO_InitStruct.Pull = GPIO_NOPULL;
  GPIO_InitStruct.Speed = GPIO_SPEED_FREQ_LOW;
  HAL_GPIO_Init(GPIOB, &GPIO_InitStruct);

  /* EXTI interrupt init*/
  HAL_NVIC_SetPriority(EXTI0_IRQn, 5, 0);
  HAL_NVIC_EnableIRQ(EXTI0_IRQn);

}

void arm_disarm(void *argument)
{
  /* USER CODE BEGIN 5 */
	int i_oce = 0;
	int j_oce = 0;

	int calib_once = 0; // Note: Calibrates only once per boot on arming, currently for testing will be mapped to a user input later.

	/* Infinite loop */
	for (;;) {

		arm_disarm_task ^= 1;

		if (display_channels[4] > 1700 && i_oce != 1) {

			i_oce = 1;
			arm_flag = 1;
			disarm_flag = 0;

			if (calib_once == 0 )
			{
				ESC_Calibrate();
				calib_once = 1;
			}

			HAL_TIM_PWM_Start(&htim2, TIM_CHANNEL_1);
			HAL_TIM_PWM_Start(&htim2, TIM_CHANNEL_2);
			HAL_TIM_PWM_Start(&htim2, TIM_CHANNEL_3);

			HAL_TIM_PWM_Start(&htim3, TIM_CHANNEL_1);
			HAL_TIM_PWM_Start(&htim3, TIM_CHANNEL_2);
			HAL_TIM_PWM_Start(&htim3, TIM_CHANNEL_3);
			HAL_TIM_PWM_Start(&htim3, TIM_CHANNEL_4);

			j_oce = 0;

		}
		else if (display_channels[4] < 1300 && j_oce != 1)
		{

            j_oce = 1;
			arm_flag = 0;
			disarm_flag = 1;
			reset_pid();

			HAL_TIM_PWM_Stop(&htim2, TIM_CHANNEL_1);
			HAL_TIM_PWM_Stop(&htim2, TIM_CHANNEL_2);
			HAL_TIM_PWM_Stop(&htim2, TIM_CHANNEL_3);

			HAL_TIM_PWM_Stop(&htim3, TIM_CHANNEL_1);
			HAL_TIM_PWM_Stop(&htim3, TIM_CHANNEL_2);
			HAL_TIM_PWM_Stop(&htim3, TIM_CHANNEL_3);
			HAL_TIM_PWM_Stop(&htim3, TIM_CHANNEL_4);

			i_oce = 0;

		}
		else
		{
			__NOP();
		}

		osDelay(1);
	}
  /* USER CODE END 5 */
}

void mode_handler(void *argument)
{
  /* USER CODE BEGIN mode_handler */

	int i_oce = 0;
	int j_oce = 0;
	int c_oce = 0;

	/* Infinite loop */

	for (;;) {

		uint32_t half_ms;

		if (mode_flag == 0)
		{
			if (!i_oce) {
				QuadTaskHandle = osThreadNew(quad_mode, NULL,
						&QuadTask_attributes);
				osThreadTerminate(FixedWingTaskHandle);
				osThreadTerminate(VtolModeHandle);
				i_oce = 1;
			}
			j_oce = 0;
			c_oce = 0;
			half_ms = 1000;
		}
		else if (mode_flag == 1)
		{
			if (!j_oce)
			{
				FixedWingTaskHandle = osThreadNew(fw_mode, NULL,
						&FixedWingTask_attributes);
				osThreadTerminate(QuadTaskHandle);
				osThreadTerminate(VtolModeHandle);
				j_oce = 1;
			}

			i_oce = 0;
			c_oce = 0;
			half_ms = 334;

		}
		else if (mode_flag == 2)
		{
			if (!c_oce)
			{
				VtolModeHandle = osThreadNew(vtol_task, NULL,
						&VtolMode_attributes);
				osThreadTerminate(QuadTaskHandle);
				osThreadTerminate(FixedWingTaskHandle);
				c_oce = 1;
			}

			i_oce = 0;
			j_oce = 0;
			half_ms = 100;

		}
		else
		{
			__NOP();
		}

		HAL_GPIO_TogglePin(GPIOC, GPIO_PIN_13);
		osDelay(half_ms);

		mode_task ^= 1;

	}
  /* USER CODE END mode_handler */
}

void debounce_task(void *argument)
{
  /* USER CODE BEGIN debounce_task */
	/* Infinite loop */
	for (;;) {

		mode_flag = temp_mode_flag;
		osDelay(1);
		bounce_task ^= 1;

	}
  /* USER CODE END debounce_task */
}

void quad_mode(void *argument)
{
  /* USER CODE BEGIN quad_mode */
	int ThrottleIdle = 1050;

	static int16_t roll_offset = 0;
	static int16_t pitch_offset = 0;
	static int sample_limit = 0;

	int test_var = 0;

	HAL_TIM_Base_Start(&htim9);
	HAL_TIM_Base_Start_IT(&htim10);

	/* Infinite loop */

	for (;;) {

		quad_task ^= 1;
		static float angle_saturation_limit = 20.0f;

		osSemaphoreAcquire(timer_semHandle, osWaitForever);

		now = TIM9->CNT;

		if (now >= last)
		{
			dt_n = now - last;
		}
		else
		{
			dt_n = (65535 - last) + now;
		}

		last = now;

		memcpy(display_channels, (void*) ppm_ready_channels,
				sizeof(ppm_ready_channels));

		ch1_dbg = display_channels[0];
		ch2_dbg = display_channels[1];
		ch3_dbg = display_channels[2];
		ch4_dbg = display_channels[3];
		ch5_dbg = display_channels[4];
		ch6_dbg = display_channels[5];

		ppm_new_data_flag = 0;

		if (sample_limit < 25) {

			roll_offset = display_channels[0] - 1500;
			pitch_offset = display_channels[1] - 1500;

			static int roll_pitch_offset_saturation_limit = 100;

			if (roll_offset > roll_pitch_offset_saturation_limit)
			{
				roll_offset = roll_pitch_offset_saturation_limit;
			}
			if (roll_offset < -roll_pitch_offset_saturation_limit)
			{
					roll_offset = -roll_pitch_offset_saturation_limit;
			}
			if (pitch_offset > roll_pitch_offset_saturation_limit)
			{
			pitch_offset = roll_pitch_offset_saturation_limit;
			}
			if (pitch_offset < -roll_pitch_offset_saturation_limit)
			{
				pitch_offset = -roll_pitch_offset_saturation_limit;
			}

		}

		sample_limit++;

		display_channels[0] -= roll_offset;
		display_channels[1] -= pitch_offset;

		if (display_channels[0] > 1495 && display_channels[0] < 1505)
		{
			display_channels[0] = 1500;
		}
		if (display_channels[1] > 1495 && display_channels[1] < 1505)
		{
			display_channels[1] = 1500;
		}
		if (display_channels[0] < rc_min_us)
		{
			display_channels[0] = rc_min_us;
		}
		if (display_channels[0] > rc_max_us)
		{
			display_channels[0] = rc_max_us;
		}

		if (display_channels[1] <rc_min_us )
		{
			display_channels[1] = rc_min_us;
		}
		if (display_channels[1] > rc_max_us)
		{
			display_channels[1] = rc_max_us;
		}

		if (arm_flag == 1 && disarm_flag == 0) { //stabilize mode

			if (test_var) {

				in_stabilize = 1;
				in_rate = 0;

				desired_angle_roll = 0.10 * (display_channels[0] - 1500);
				desired_angle_pitch = 0.10 * (display_channels[1] - 1500);

				if (desired_angle_roll > angle_saturation_limit)
				{
					desired_angle_roll = angle_saturation_limit;
				}
				if (desired_angle_roll < -angle_saturation_limit)
				{
					desired_angle_roll = -angle_saturation_limit;
				}

				if (desired_angle_pitch > angle_saturation_limit)
				{
					desired_angle_pitch = angle_saturation_limit;
				}
				if (desired_angle_pitch < -angle_saturation_limit)
				{
					desired_angle_pitch = -angle_saturation_limit;
				}

				input_throttle = display_channels[2];
				desired_rate_yaw = 0.15 * (display_channels[3] - 1500);

				desired_rate_yaw = -desired_rate_yaw;

				//stabilize controller
				mpu_get_kalman_angles(&kalman_roll, &kalman_pitch);

				error_angle_roll = desired_angle_roll - kalman_roll;
				error_angle_pitch = desired_angle_pitch - (-kalman_pitch);

				pid_equation(error_angle_roll, p_angle_roll, i_angle_roll,
						d_angle_roll, prev_error_angle_roll, prev_iterm_angle_roll);

				desired_rate_roll = PIDReturn[0];
				prev_error_angle_roll = PIDReturn[1];
				prev_iterm_angle_roll = PIDReturn[2];

				pid_equation(error_angle_pitch, p_angle_pitch, i_angle_pitch,
						d_angle_pitch, prev_error_angle_pitch, prev_iterm_angle_pitch);

				desired_rate_pitch = PIDReturn[0];
				prev_error_angle_pitch = PIDReturn[1];
				prev_iterm_angle_pitch = PIDReturn[2];

				mpu_gyro_raw raw_gyro;
			    mpu_gyro_read(&raw_gyro);
				//rate controller
				error_rate_roll = desired_rate_roll
						- (raw_gyro.Gx - calibration_const_global_gx); //x

				error_rate_pitch = desired_rate_pitch
						- (raw_gyro.Gy - calibration_const_global_gy); //y

				error_rate_yaw = desired_rate_yaw
						- (raw_gyro.Gz - calibration_const_global_gz); //z

				pid_equation(error_rate_roll, p_rate_roll, i_rate_roll,
						d_rate_roll, prev_error_rate_roll, prev_iterm_rate_roll);

				input_roll = PIDReturn[0];
				prev_error_rate_roll = PIDReturn[1];
				prev_iterm_rate_roll = PIDReturn[2];

				pid_equation(error_rate_pitch, p_rate_pitch, i_rate_pitch,
						d_rate_pitch, prev_error_rate_pitch, prev_iterm_rate_pitch);

				input_pitch = PIDReturn[0];
				prev_error_rate_pitch = PIDReturn[1];
				prev_iterm_rate_pitch = PIDReturn[2];

				pid_equation(error_rate_yaw, p_rate_yaw, i_rate_yaw, d_rate_yaw,
						prev_error_rate_yaw, prev_iterm_rate_yaw);

				input_yaw = PIDReturn[0];
				prev_error_rate_yaw = PIDReturn[1];
				prev_iterm_rate_yaw = PIDReturn[2];

				M1 = 1.024f
						* (input_throttle - input_roll - input_pitch - input_yaw);
				M2 = 1.024f
						* (input_throttle - input_roll + input_pitch + input_yaw);
				M3 = 1.024f
						* (input_throttle + input_roll + input_pitch - input_yaw);
				M4 = 1.024f
						* (input_throttle + input_roll - input_pitch + input_yaw);

				if (M1 < ThrottleIdle)
				{
					M1 = ThrottleIdle;
				}
				if (M2 < ThrottleIdle)
				{
					M2 = ThrottleIdle;
				}
				if (M3 < ThrottleIdle)
				{
					M3 = ThrottleIdle;
				}
				if (M4 < ThrottleIdle)
				{
					M4 = ThrottleIdle;
				}
				if (M1 > rc_max_us)
				{
					M1 = rc_max_us - 1;
				}
				if (M2 > rc_max_us)
				{
					M2 = rc_max_us - 1;
				}
				if (M3 > rc_max_us)
				{
					M3 = rc_max_us - 1;
				}
				if (M4 > rc_max_us)
				{
					M4 = rc_max_us - 1;
				}

				int ThrottleCutOff = rc_min_us;

				if (display_channels[2] < 1050) {
					M1 = ThrottleCutOff;
					M2 = ThrottleCutOff;
					M3 = ThrottleCutOff;
					M4 = ThrottleCutOff;
					reset_pid();
				}

				set_raw_ccr(M1, 5);
				set_raw_ccr(M4, 3);
				set_raw_ccr(M3, 1);
				set_raw_ccr(M2, 6);

			}
			else if (!test_var)
			{

				in_stabilize = 0;
				in_rate = 1;

				desired_rate_roll = 0.15 * (display_channels[0] - 1500);
				desired_rate_pitch = 0.15 * (display_channels[1] - 1500);
				input_throttle = display_channels[2];
				desired_rate_yaw = 0.15 * (display_channels[3] - 1500);

				desired_rate_yaw = -desired_rate_yaw;

				mpu_gyro_raw raw_gyro;
			    mpu_gyro_read(&raw_gyro);

				error_rate_roll = desired_rate_roll
						- (raw_gyro.Gx - calibration_const_global_gx); //x
				error_rate_pitch = desired_rate_pitch
						- (raw_gyro.Gy - calibration_const_global_gy); //y
				error_rate_yaw = desired_rate_yaw
						- (raw_gyro.Gz - calibration_const_global_gz); //z

				i_rate_roll = map_rc_to_pid(display_channels[5]);
				i_rate_pitch = map_rc_to_pid(display_channels[5]);

				pid_equation(error_rate_roll, p_rate_roll, i_rate_roll,
						d_rate_roll, prev_error_rate_roll, prev_iterm_rate_roll);
				input_roll = PIDReturn[0];
				prev_error_rate_roll = PIDReturn[1];
				prev_iterm_rate_roll = PIDReturn[2];

				pid_equation(error_rate_pitch, p_rate_pitch, i_rate_pitch,
						d_rate_pitch, prev_error_rate_pitch, prev_iterm_rate_pitch);
				input_pitch = PIDReturn[0];
				prev_error_rate_pitch = PIDReturn[1];
				prev_iterm_rate_pitch = PIDReturn[2];

				pid_equation(error_rate_yaw, p_rate_yaw, i_rate_yaw, d_rate_yaw,
						prev_error_rate_yaw, prev_iterm_rate_yaw);
				input_yaw = PIDReturn[0];
				prev_error_rate_yaw = PIDReturn[1];
				prev_iterm_rate_yaw = PIDReturn[2];

				M1 = 1.024f
						* (input_throttle - input_roll - input_pitch - input_yaw);
				M2 = 1.024f
						* (input_throttle - input_roll + input_pitch + input_yaw);
				M3 = 1.024f
						* (input_throttle + input_roll + input_pitch - input_yaw);
				M4 = 1.024f
						* (input_throttle + input_roll - input_pitch + input_yaw);

				if (M1 < ThrottleIdle)
				{
					M1 = ThrottleIdle;
				}
				if (M2 < ThrottleIdle)
				{
					M2 = ThrottleIdle;
				}
				if (M3 < ThrottleIdle)
				{
					M3 = ThrottleIdle;
				}
				if (M4 < ThrottleIdle)
				{
					M4 = ThrottleIdle;
				}

				// capping maximum m1-4 values - aryan

				if (M1 > rc_max_us)
				{
					M1 = rc_max_us;
				}
				if (M2 > rc_max_us)
				{
					M2 = rc_max_us;
				}
				if (M3 > rc_max_us)
				{
					M3 = rc_max_us;
				}
				if (M4 > rc_max_us)
				{
					M4 = rc_max_us;
				}

				int ThrottleCutOff = 1000;

				if (display_channels[2] < 1050)
				{
					M1 = ThrottleCutOff;
					M2 = ThrottleCutOff;
					M3 = ThrottleCutOff;
					M4 = ThrottleCutOff;
					reset_pid();
				}

				set_raw_ccr(M1, 5);
				set_raw_ccr(M4, 3);
				set_raw_ccr(M3, 1);
				set_raw_ccr(M2, 6);

			}

		}

		//for debugging on MCUViewer and For giving time exceeded warnings in mavlink

	}

  /* USER CODE END quad_mode */
}

void telemetry_task(void *argument)
{
  /* USER CODE BEGIN telemetry_task */

	/* Infinite loop */
	for (;;) {

		telemetery_task ^= 1;

		if (arm_flag == 1 && disarm_flag == 0) {

			//alt_ext = bmp280_get_altitude();
			/*printf("P pitch: %f",p_rate_pitch_s);
			printf("P roll: %f",p_rate_roll_s);*/
			send_heartbeat_armed();
			send_attitude();
			send_battery_info();
			send_status_text(MAV_SEVERITY_INFO, "ARMED!");

		}

		else if (arm_flag == 0 && disarm_flag == 1) {
			/*	-replaced mpu_accel_read() , mpu_gyro_read() to struct-based outputs
				-now it returns a struct with all calibration values , instead of calling multiple functions */

      		mpu_accel_raw raw_accel;
			mpu_accel_read(&raw_accel);
			mpu_gyro_raw raw_gyro;
			mpu_gyro_read(&raw_gyro);

			mpu_get_kalman_angles(&kalman_roll, &kalman_pitch);
			g_global_x = raw_gyro.Gx;
			g_global_y = raw_gyro.Gy;
			g_global_z = raw_gyro.Gz;
			a_global_x = raw_accel.Ax;
			a_global_y = raw_accel.Ay;
			a_global_z = raw_accel.Az;
			alt_ext = bmp280_get_altitude();
			send_heartbeat_disarmed();
			send_attitude();
			send_scaled_pressure();

			printf("Telemetry is alive!\n");
			send_battery_info();
			send_status_text(MAV_SEVERITY_INFO, "DISARMED!");

		}

		osDelay(500); // NOTE : Changed to 500 ms so doesn't consume a lot of cycles

	}
  /* USER CODE END telemetry_task */
}

void fw_mode(void *argument)
{
  /* USER CODE BEGIN fw_mode */
	/* Infinite loop */
	float Gx, Gy;
	float left_elevon;
	float right_elevon;

	float throttle;
	for (;;) {
		actuator_emergency_stop_latch();

		osSemaphoreAcquire(timer_semHandle, osWaitForever);

		if (display_channels[6] > 1900) {

			mpu_get_kalman_angles(&kalman_roll, &kalman_pitch);

			desired_angle_roll = 0.05f * (display_channels[0] - 1500);
			desired_angle_pitch = 0.07f * (display_channels[1] - 1500);

			error_angle_roll = desired_angle_roll - kalman_roll;
			error_angle_pitch = desired_angle_pitch - kalman_pitch;

			desired_rate_roll = p_angle_roll * error_angle_roll;
			desired_rate_pitch = p_angle_pitch * error_angle_pitch;

			static float rate_saturation_limit = 200.0f;

			if (desired_rate_roll > rate_saturation_limit)
			{
				desired_rate_roll = rate_saturation_limit - 0.1f;
			}
			if (desired_rate_roll < -rate_saturation_limit)
			{
				desired_rate_roll = -rate_saturation_limit + 0.1f;
			}

			if (desired_rate_pitch > rate_saturation_limit)
			{
				desired_rate_pitch = rate_saturation_limit - 0.1f;
			}
			if (desired_rate_pitch < -rate_saturation_limit)
			{
				desired_rate_pitch = -rate_saturation_limit + 0.1f;
			}

			mpu_gyro_raw raw_gyro;
			mpu_gyro_read(&raw_gyro);

			Gx = raw_gyro.Gx - calibration_const_global_gx;
			Gy = raw_gyro.Gy - calibration_const_global_gy;

			error_rate_roll = desired_rate_roll - Gx;
			error_rate_pitch = desired_rate_pitch - Gy;

			pid_equation(error_rate_roll, p_rate_roll, i_rate_roll, d_rate_roll,
					prev_error_rate_roll, prev_iterm_rate_roll);

			input_roll = PIDReturn[0];
			prev_error_rate_roll = PIDReturn[1];
			prev_iterm_rate_roll = PIDReturn[2];

			pid_equation(error_rate_pitch, p_rate_pitch, i_rate_pitch, d_rate_pitch,
					prev_error_rate_pitch, prev_iterm_rate_pitch);

			input_pitch = PIDReturn[0];
			prev_error_rate_pitch = PIDReturn[1];
			prev_iterm_rate_pitch = PIDReturn[2];

			elevon_left = 1500 + (EL_L_DIR * (input_pitch + input_roll));
			elevon_right = 1500 + (EL_R_DIR * (input_pitch - input_roll));

			// Clamp
			if (elevon_left > rc_max_us)
			{
				elevon_left = rc_max_us - 1;
			}
			if (elevon_left < rc_min_us)
			{
				elevon_left = rc_min_us + 1;
			}

			if (elevon_right > rc_max_us)
			{
				elevon_right = rc_max_us - 1;
			}
			if (elevon_right < rc_min_us)
			{
				elevon_right = rc_min_us + 1;
			}

			set_raw_ccr(elevon_left, 4);
			set_raw_ccr(elevon_right, 5);

			input_throttle = display_channels[2];
			set_raw_ccr(input_throttle, 6);

		} else if (display_channels[7] < 1300) {

			left_elevon = range_converter(display_channels[0], rc_min_us, rc_max_us, 5,
					10);
			right_elevon = range_converter(display_channels[1], rc_min_us, rc_max_us, 5,
					10);
			throttle = range_converter(display_channels[2], rc_min_us, rc_max_us, 5, 10);

			set_raw_ccr(throttle, 6);
			set_raw_ccr(left_elevon, 4);
			set_raw_ccr(right_elevon, 5);

		}

	}
  /* USER CODE END fw_mode */
}

void vtol_task(void *argument)
{
  /* USER CODE BEGIN vtol_task */
	/* Infinite loop */
	for (;;) {
		actuator_emergency_stop_latch();
		osDelay(1);
	}
  /* USER CODE END vtol_task */
}

void HAL_TIM_PeriodElapsedCallback(TIM_HandleTypeDef *htim)
{
  if (htim->Instance == TIM11)
  {
    HAL_IncTick();
  }
  /* USER CODE BEGIN Callback 1 */
  if (htim->Instance == TIM10)
    {
  		tim_flag = 1;
  		osSemaphoreRelease(timer_semHandle);
  	}
  /* USER CODE END Callback 1 */
}

void Error_Handler(void)
{
	__disable_irq();
	while (1) {
	}
}
